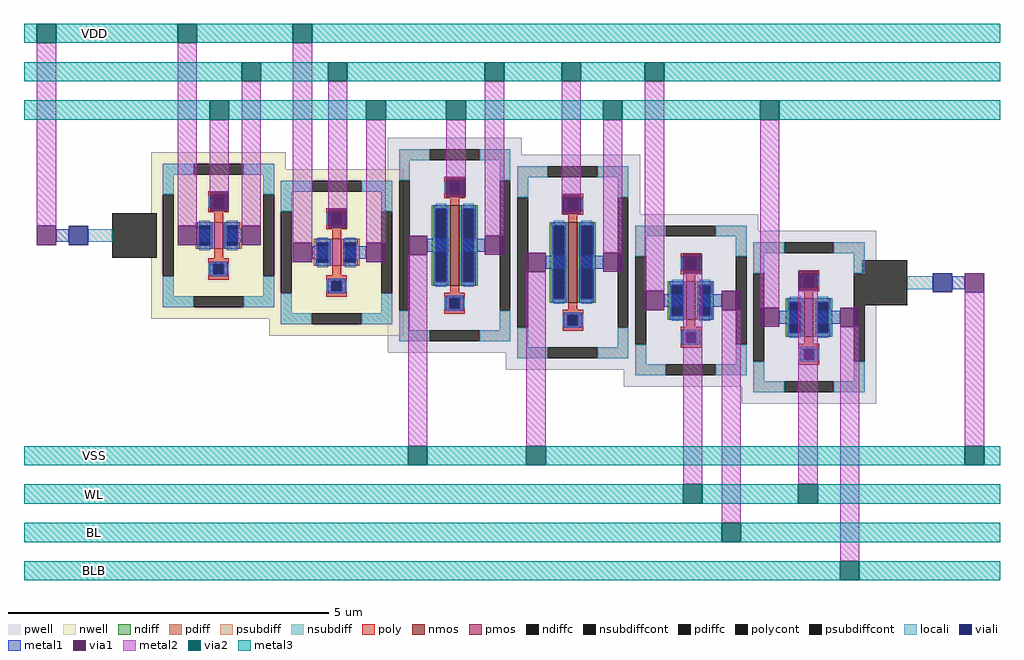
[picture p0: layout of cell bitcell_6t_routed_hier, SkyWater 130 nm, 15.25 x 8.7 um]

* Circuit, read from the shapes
.subckt bitcell_6t_routed_hier VDD BL BLB VSS WL
XM1 n1 n2 VSS VSS sky130_fd_pr__nfet_01v8 w=1.26 l=0.14
XM2 n2 n1 VSS VSS sky130_fd_pr__nfet_01v8 w=1.26 l=0.14
XM3 BL WL n1 VSS sky130_fd_pr__nfet_01v8 w=0.6 l=0.14
XM4 BLB WL n2 VSS sky130_fd_pr__nfet_01v8 w=0.6 l=0.14
XM5 n1 n2 VDD VDD sky130_fd_pr__pfet_01v8 w=0.42 l=0.14
XM6 n2 n1 VDD VDD sky130_fd_pr__pfet_01v8 w=0.42 l=0.14
.ends

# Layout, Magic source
magic
tech sky130A
magscale 1 2
<< nwell >>
rect -175 -1462 -35 -1322
<< pwell >>
rect 2170 -1610 2310 -1470
<< psubdiffcont >>
rect 2170 -1610 2310 -1470
<< nsubdiffcont >>
rect -175 -1462 -35 -1322
<< locali >>
rect -250 -1412 -175 -1372
rect 2310 -1560 2390 -1520
<< viali >>
rect -310 -1422 -250 -1362
rect 2390 -1570 2450 -1510
<< metal1 >>
rect -350 -1412 -310 -1372
rect 90 -1412 134 -1372
rect 182 -1412 230 -1372
rect 450 -1465 503 -1425
rect 551 -1465 620 -1425
rect 810 -1443 872 -1403
rect 920 -1443 990 -1403
rect 1180 -1496 1241 -1456
rect 1289 -1496 1360 -1456
rect 1550 -1615 1610 -1575
rect 1658 -1615 1730 -1575
rect 2450 -1560 2490 -1520
rect 1910 -1668 1979 -1628
rect 2027 -1668 2100 -1628
<< via1 >>
rect 130 -1316 190 -1256
rect 870 -1272 930 -1212
rect -410 -1422 -350 -1362
rect 30 -1422 90 -1362
rect 230 -1422 290 -1362
rect 500 -1369 560 -1309
rect 1230 -1325 1290 -1265
rect 390 -1475 450 -1415
rect 620 -1475 680 -1415
rect 750 -1453 810 -1393
rect 990 -1453 1050 -1393
rect 1120 -1506 1180 -1446
rect 1360 -1506 1420 -1446
rect 1610 -1510 1670 -1450
rect 1970 -1563 2030 -1503
rect 1490 -1625 1550 -1565
rect 1730 -1625 1790 -1565
rect 2490 -1570 2550 -1510
rect 1850 -1678 1910 -1618
rect 2100 -1678 2160 -1618
<< metal2 >>
rect -410 -1362 -350 -790
rect 30 -1362 90 -790
rect 130 -1256 190 -1030
rect 230 -1362 290 -910
rect 390 -1415 450 -790
rect 500 -1309 560 -910
rect 620 -1415 680 -1030
rect 870 -1212 930 -1030
rect 990 -1393 1050 -910
rect 1230 -1265 1290 -910
rect 1360 -1446 1420 -1030
rect 750 -2050 810 -1453
rect 1120 -2050 1180 -1506
rect 1490 -1565 1550 -910
rect 1610 -2170 1670 -1510
rect 1730 -2290 1790 -1625
rect 1850 -1618 1910 -1030
rect 1970 -2170 2030 -1563
rect 2100 -2410 2160 -1678
rect 2490 -2050 2550 -1570
<< via2 >>
rect -410 -790 -350 -730
rect 30 -790 90 -730
rect 390 -790 450 -730
rect 230 -910 290 -850
rect 130 -1030 190 -970
rect 500 -910 560 -850
rect 990 -910 1050 -850
rect 620 -1030 680 -970
rect 870 -1030 930 -970
rect 1230 -910 1290 -850
rect 1490 -910 1550 -850
rect 1360 -1030 1420 -970
rect 750 -2110 810 -2050
rect 1850 -1030 1910 -970
rect 1120 -2110 1180 -2050
rect 1610 -2230 1670 -2170
rect 1970 -2230 2030 -2170
rect 1730 -2350 1790 -2290
rect 2490 -2110 2550 -2050
rect 2100 -2470 2160 -2410
<< metal3 >>
rect -450 -790 -410 -730
rect -350 -790 30 -730
rect 90 -790 390 -730
rect 450 -790 2600 -730
rect -450 -910 230 -850
rect 290 -910 500 -850
rect 560 -910 990 -850
rect 1050 -910 1230 -850
rect 1290 -910 1490 -850
rect 1550 -910 2600 -850
rect -450 -1030 130 -970
rect 190 -1030 620 -970
rect 680 -1030 870 -970
rect 930 -1030 1360 -970
rect 1420 -1030 1850 -970
rect 1910 -1030 2600 -970
rect -450 -2110 750 -2050
rect 810 -2110 1120 -2050
rect 1180 -2110 2490 -2050
rect 2550 -2110 2600 -2050
rect -450 -2230 1610 -2170
rect 1670 -2230 1970 -2170
rect 2030 -2230 2600 -2170
rect -450 -2350 1730 -2290
rect 1790 -2350 2600 -2290
rect -450 -2470 2100 -2410
rect 2160 -2470 2600 -2410
use sky130_fd_pr__nfet_01v8_FJKXR4  XACC_L
transform 1 0 1634 0 1 -1595
box -211 -270 211 270
use sky130_fd_pr__nfet_01v8_FJKXR4  XACC_R
transform 1 0 2003 0 1 -1648
box -211 -270 211 270
use sky130_fd_pr__nfet_01v8_6SJXNR  XPD_L
transform 1 0 896 0 1 -1423
box -211 -336 211 336
use sky130_fd_pr__nfet_01v8_6SJXNR  XPD_R
transform 1 0 1265 0 1 -1476
box -211 -336 211 336
use sky130_fd_pr__pfet_01v8_RCZQRH  XPU_L
transform 1 0 158 0 1 -1392
box -211 -261 211 261
use sky130_fd_pr__pfet_01v8_RCZQRH  XPU_R
transform 1 0 527 0 1 -1445
box -211 -261 211 261
<< labels >>
rlabel metal3 -255 -785 -205 -735 0 VDD
port 0 n
rlabel metal3 -255 -2345 -205 -2295 0 BL
port 1 n
rlabel metal3 -255 -2465 -205 -2415 0 BLB
port 2 n
rlabel metal3 -255 -2105 -205 -2055 0 VSS
port 3 n
rlabel metal3 -255 -2225 -205 -2175 0 WL
port 4 n
<< end >>

# cell sky130_fd_pr__nfet_01v8_FJKXR4: kit device sky130_fd_pr__nfet_01v8, w 0.6 l 0.15 m 1 nf 1 diffcov 100 polycov 100 guard 1 glc 1 grc 1 gtc 1 gbc 1 tbcov 100 rlcov 100 topc 1 botc 1 poverlap 0 doverlap 1 lmin 0.15 wmin 0.42 class mosfet compatible {sky130_fd_pr__nfet_01v8 sky130_fd_pr__nfet_01v8_lvt sky130_fd_bs_flash__special_sonosfet_star sky130_fd_pr__nfet_g5v0d10v5 sky130_fd_pr__nfet_05v0_nvt sky130_fd_pr__nfet_03v3_nvt} full_metal 1 viasrc 100 viadrn 100 viagate 100 viagb 0 viagr 0 viagl 0 viagt 0

# cell sky130_fd_pr__nfet_01v8_6SJXNR: kit device sky130_fd_pr__nfet_01v8, w 1.26 l 0.15 m 1 nf 1 diffcov 100 polycov 100 guard 1 glc 1 grc 1 gtc 1 gbc 1 tbcov 100 rlcov 100 topc 1 botc 1 poverlap 0 doverlap 1 lmin 0.15 wmin 0.42 class mosfet compatible {sky130_fd_pr__nfet_01v8 sky130_fd_pr__nfet_01v8_lvt sky130_fd_bs_flash__special_sonosfet_star sky130_fd_pr__nfet_g5v0d10v5 sky130_fd_pr__nfet_05v0_nvt sky130_fd_pr__nfet_03v3_nvt} full_metal 1 viasrc 100 viadrn 100 viagate 100 viagb 0 viagr 0 viagl 0 viagt 0

# cell sky130_fd_pr__pfet_01v8_RCZQRH: kit device sky130_fd_pr__pfet_01v8, w 0.42 l 0.15 m 1 nf 1 diffcov 100 polycov 100 guard 1 glc 1 grc 1 gtc 1 gbc 1 tbcov 100 rlcov 100 topc 1 botc 1 poverlap 0 doverlap 1 lmin 0.15 wmin 0.42 class mosfet compatible {sky130_fd_pr__pfet_01v8 sky130_fd_pr__pfet_01v8_lvt sky130_fd_pr__pfet_01v8_hvt sky130_fd_pr__pfet_g5v0d10v5} full_metal 1 viasrc 100 viadrn 100 viagate 100 viagb 0 viagr 0 viagl 0 viagt 0
